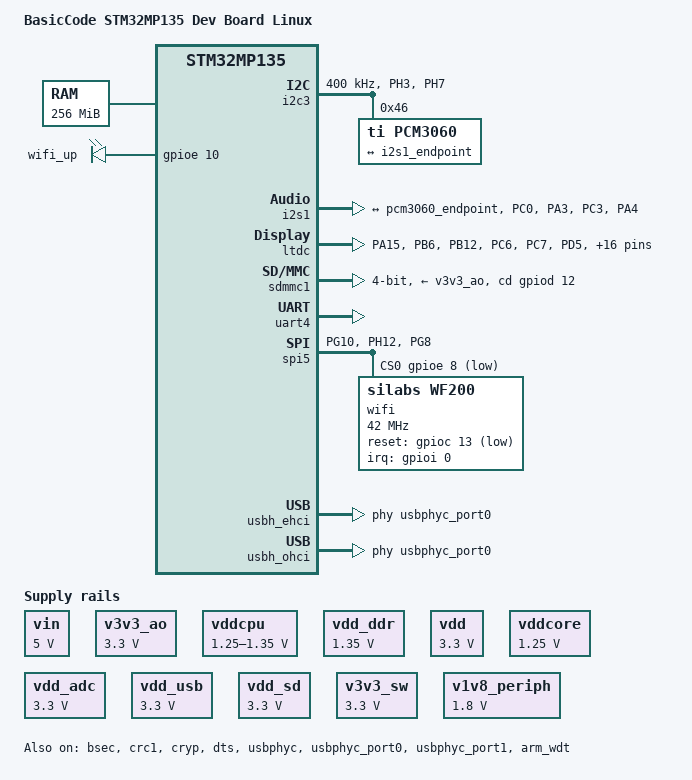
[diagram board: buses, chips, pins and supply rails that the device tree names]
// SPDX-License-Identifier: (GPL-2.0-or-later OR BSD-3-Clause)
/*
 * Copyright (C) 2023, STMicroelectronics - All Rights Reserved
 * Author: STM32CubeMX code generation for STMicroelectronics.
 */

/* For more information on Device Tree configuration, please refer to
 * https://wiki.st.com/stm32mpu/wiki/Category:Device_tree_configuration
 */

/dts-v1/;
#include <dt-bindings/pinctrl/stm32-pinfunc.h>

#include "stm32mp135.dtsi"
#include "stm32mp13xf.dtsi"
#include "stm32mp13-pinctrl.dtsi"

/* USER CODE BEGIN includes */
#include <dt-bindings/gpio/gpio.h>
#include <dt-bindings/input/input.h>
#include <dt-bindings/leds/common.h>
#include <dt-bindings/regulator/st,stm32mp13-regulator.h>
#include <dt-bindings/rtc/rtc-stm32.h>
#include <dt-bindings/interrupt-controller/irq.h>
/* USER CODE END includes */

/ {
	model = "BasicCode STM32MP135 Dev Board Linux";
	compatible = "st,stm32mp135";

	memory@c0000000 {
		device_type = "memory";
		reg = <0xc0000000 0x10000000>;
	};

	reserved-memory {
		#address-cells = <1>;
		#size-cells = <1>;
		ranges;

		optee_framebuffer@cd000000 {
				reg = <0xcd000000 0x1000000>;
				no-map;
		};

		optee@ce000000 {
				reg = <0xce000000 0x2000000>;
				no-map;
		};
	};

	/* USER CODE BEGIN root */

	aliases{
		serial0 = &uart4;
		serial1 = &usart1;
		serial2 = &uart8;
		serial3 = &usart2;
	};

	chosen{
		stdout-path = "serial0:115200n8";
		#address-cells = <1>;
		#size-cells = <1>;
		ranges;

		framebuffer{
			compatible = "simple-framebuffer";
			clocks = <&rcc LTDC_PX>;
			status = "disabled";
		};
	};

    /*
     * Dummy regulators because no PMIC
     */
	vin: vin {
		compatible = "regulator-fixed";
		regulator-name = "vin";
		regulator-min-microvolt = <5000000>;
		regulator-max-microvolt = <5000000>;
		regulator-always-on;
	};

	v3v3_ao: v3v3_ao {
		compatible = "regulator-fixed";
		regulator-name = "v3v3_ao";
		regulator-min-microvolt = <3300000>;
		regulator-max-microvolt = <3300000>;
		regulator-always-on;
	};

    vddcpu: vddcpu {
        compatible = "regulator-fixed";
        regulator-name = "vddcpu";
        regulator-min-microvolt = <1250000>;
        regulator-max-microvolt = <1350000>;
        regulator-always-on;
    };

    vdd_ddr: vdd_ddr {
        compatible = "regulator-fixed";
        regulator-name = "vdd_ddr";
        regulator-min-microvolt = <1350000>;
        regulator-max-microvolt = <1350000>;
        regulator-always-on;
    };

    vdd: vdd {
        compatible = "regulator-fixed";
        regulator-name = "vdd";
        regulator-min-microvolt = <3300000>;
        regulator-max-microvolt = <3300000>;
        regulator-always-on;
    };

    vddcore: vddcore {
        compatible = "regulator-fixed";
        regulator-name = "vddcore";
        regulator-min-microvolt = <1250000>;
        regulator-max-microvolt = <1250000>;
        regulator-always-on;
    };

    vdd_adc: vdd_adc {
        compatible = "regulator-fixed";
        regulator-name = "vdd_adc";
        regulator-min-microvolt = <3300000>;
        regulator-max-microvolt = <3300000>;
        regulator-always-on;
    };

    vdd_usb: vdd_usb {
        compatible = "regulator-fixed";
        regulator-name = "vdd_usb";
        regulator-min-microvolt = <3300000>;
        regulator-max-microvolt = <3300000>;
        regulator-always-on;
    };

    vdd_sd: vdd_sd {
        compatible = "regulator-fixed";
        regulator-name = "vdd_sd";
        regulator-min-microvolt = <3300000>;
        regulator-max-microvolt = <3300000>;
        regulator-always-on;
    };

    v3v3_sw: v3v3_sw {
        compatible = "regulator-fixed";
        regulator-name = "v3v3_sw";
        regulator-min-microvolt = <3300000>;
        regulator-max-microvolt = <3300000>;
        regulator-always-on;
    };

    v1v8_periph: v1v8_periph {
        compatible = "regulator-fixed";
        regulator-name = "v1v8_periph";
        regulator-min-microvolt = <1800000>;
        regulator-max-microvolt = <1800000>;
        regulator-always-on;
    };
	/* USER CODE END root */

	clocks{

		clk_mco1:clk-mco1{
			#clock-cells = <0>;
			compatible = "fixed-clock";
			clock-frequency = <24000000>;
		};
	};

	led{
		compatible = "gpio-leds";

		/*
		 * The Wifi_UP pin must be held HIGH for the chip to turn on,
		 * even when power saving is disableld.
		 */
		wifi_up{
			label = "wifi_up";
			gpios = <&gpioe 10 GPIO_ACTIVE_HIGH>;
			default-state = "on";
		};
	};
/*
	sound {
		compatible = "audio-graph-card";
		label = "STM32MP13-Test";
		routing = "Playback", "DAC";
		dais = <&i2s1_port>;
		status = "okay";
	};
*/

	sound {
		compatible = "simple-audio-card";
		simple-audio-card,name = "Sound Card";
		simple-audio-card,format = "i2s";
		simple-audio-card,mclk-fs = <256>;
		status = "okay";
		simple-audio-card,routing = 
			"Playback", "DAC";
		simple-audio-card,widgets =
			"Headphone", "Headphone Jack";

		simple-audio-card,cpu {
			sound-dai = <&i2s1>;
		};

		simple-audio-card,codec {
			sound-dai = <&pcm3060>;
			clocks = <&i2s1>;
		};
	};

}; /*root*/

&pinctrl {
	ltdc_pins_mx: ltdc_mx-0 {
		pins {
			pinmux = <STM32_PINMUX('A', 15, AF11)>, /* LTDC_G7 */
					 <STM32_PINMUX('B', 6, AF7)>, /* LTDC_B6 */
					 <STM32_PINMUX('B', 12, AF13)>, /* LTDC_R3 */
					 <STM32_PINMUX('C', 6, AF14)>, /* LTDC_HSYNC */
					 <STM32_PINMUX('C', 7, AF14)>, /* LTDC_G6 */
					 <STM32_PINMUX('D', 5, AF14)>, /* LTDC_G4 */
					 <STM32_PINMUX('D', 9, AF13)>, /* LTDC_CLK */
					 <STM32_PINMUX('D', 10, AF14)>, /* LTDC_B2 */
					 <STM32_PINMUX('D', 14, AF14)>, /* LTDC_R4 */
					 <STM32_PINMUX('E', 0, AF14)>, /* LTDC_B5 */
					 <STM32_PINMUX('E', 7, AF14)>, /* LTDC_R5 */
					 <STM32_PINMUX('E', 9, AF14)>, /* LTDC_R7 */
					 <STM32_PINMUX('E', 13, AF14)>, /* LTDC_R6 */
					 <STM32_PINMUX('F', 1, AF13)>, /* LTDC_B7 */
					 <STM32_PINMUX('F', 2, AF14)>, /* LTDC_B3 */
					 <STM32_PINMUX('F', 3, AF14)>, /* LTDC_G3 */
					 <STM32_PINMUX('G', 0, AF14)>, /* LTDC_G5 */
					 <STM32_PINMUX('G', 4, AF11)>, /* LTDC_VSYNC */
					 <STM32_PINMUX('G', 7, AF14)>, /* LTDC_R2 */
					 <STM32_PINMUX('H', 9, AF11)>, /* LTDC_DE */
					 <STM32_PINMUX('H', 13, AF14)>, /* LTDC_G2 */
					 <STM32_PINMUX('H', 14, AF11)>; /* LTDC_B4 */
			bias-disable;
			drive-push-pull;
			slew-rate = <0>;
		};
	};

	ltdc_sleep_pins_mx: ltdc_sleep_mx-0 {
		pins {
			pinmux = <STM32_PINMUX('A', 15, ANALOG)>, /* LTDC_G7 */
					 <STM32_PINMUX('B', 6, ANALOG)>, /* LTDC_B6 */
					 <STM32_PINMUX('B', 12, ANALOG)>, /* LTDC_R3 */
					 <STM32_PINMUX('C', 6, ANALOG)>, /* LTDC_HSYNC */
					 <STM32_PINMUX('C', 7, ANALOG)>, /* LTDC_G6 */
					 <STM32_PINMUX('D', 5, ANALOG)>, /* LTDC_G4 */
					 <STM32_PINMUX('D', 9, ANALOG)>, /* LTDC_CLK */
					 <STM32_PINMUX('D', 10, ANALOG)>, /* LTDC_B2 */
					 <STM32_PINMUX('D', 14, ANALOG)>, /* LTDC_R4 */
					 <STM32_PINMUX('E', 0, ANALOG)>, /* LTDC_B5 */
					 <STM32_PINMUX('E', 7, ANALOG)>, /* LTDC_R5 */
					 <STM32_PINMUX('E', 9, ANALOG)>, /* LTDC_R7 */
					 <STM32_PINMUX('E', 13, ANALOG)>, /* LTDC_R6 */
					 <STM32_PINMUX('F', 1, ANALOG)>, /* LTDC_B7 */
					 <STM32_PINMUX('F', 2, ANALOG)>, /* LTDC_B3 */
					 <STM32_PINMUX('F', 3, ANALOG)>, /* LTDC_G3 */
					 <STM32_PINMUX('G', 0, ANALOG)>, /* LTDC_G5 */
					 <STM32_PINMUX('G', 4, ANALOG)>, /* LTDC_VSYNC */
					 <STM32_PINMUX('G', 7, ANALOG)>, /* LTDC_R2 */
					 <STM32_PINMUX('H', 9, ANALOG)>, /* LTDC_DE */
					 <STM32_PINMUX('H', 13, ANALOG)>, /* LTDC_G2 */
					 <STM32_PINMUX('H', 14, ANALOG)>; /* LTDC_B4 */
		};
	};

	rtc_pins_mx: rtc_mx-0 {
		pins {
			pinmux = <STM32_PINMUX('I', 1, ANALOG)>; /* RTC_LSCO_OUT2 */
		};
	};

	rtc_sleep_pins_mx: rtc_sleep_mx-0 {
		pins {
			pinmux = <STM32_PINMUX('I', 1, ANALOG)>; /* RTC_LSCO_OUT2 */
		};
	};

	i2c3_pins_mx: i2c3-0 {
		pins {
			pinmux = <STM32_PINMUX('H', 3, AF4)>, /* I2C3_SCL */
				 <STM32_PINMUX('H', 7, AF5)>; /* I2C3_SDA */
			bias-disable;
			drive-open-drain;
			slew-rate = <0>;
		};
	};

	i2c3_sleep_pins_mx: i2c3-sleep-0 {
		pins {
			pinmux = <STM32_PINMUX('H', 3, ANALOG)>, /* I2C3_SCL */
				 <STM32_PINMUX('H', 7, ANALOG)>; /* I2C3_SDA */
		};
	};

	spi5_pins_mx: spi5-1 {
		pins1 {
			pinmux = <STM32_PINMUX('G', 10, AF5)>, /* SPI4_SCK */
				<STM32_PINMUX('H', 12, AF5)>; /* SPI4_MOSI */
			bias-disable;
			drive-push-pull;
			slew-rate = <1>;
		};

		pins2 {
			pinmux = <STM32_PINMUX('G', 8, AF5)>; /* SPI4_MISO */
			bias-disable;
		};
	};

	spi5_sleep_pins_mx: spi5-sleep-1 {
		pins {
			pinmux = <STM32_PINMUX('G', 10, ANALOG)>, /* SPI4_SCK */
				<STM32_PINMUX('G', 8, ANALOG)>, /* SPI4_MISO */
				<STM32_PINMUX('H', 12, ANALOG)>; /* SPI4_MOSI */
		};
	};

	/*
	 * Audio
	 */
	i2s1_pins_mx: i2s1-0 {
		pins {
			pinmux = <STM32_PINMUX('C', 0, AF5)>, // I2S1_MCLK
				//<STM32_PINMUX('A', 6, AF5)>, // I2S1_SDI
				<STM32_PINMUX('A', 3, AF5)>, // I2S1_SDO
				<STM32_PINMUX('C', 3, AF6)>, // I2S1_CK
				<STM32_PINMUX('A', 4, AF5)>; //I2S1_WS
			bias-disable;
			drive-push-pull;
			slew-rate = <1>;
		};
	};
	
	i2s1_sleep_pins_mx: i2s1-sleep-0 {
		pins {
			pinmux = <STM32_PINMUX('C', 0, ANALOG)>, // I2S1_MCLK
				//<STM32_PINMUX('A', 6, ANALOG)>, // I2S1_SDI
				<STM32_PINMUX('A', 3, ANALOG)>, // I2S1_SDO
				<STM32_PINMUX('C', 3, ANALOG)>, // I2S1_CK
				<STM32_PINMUX('A', 4, ANALOG)>; //I2S1_WS
		};
	};
};

&bsec{
	status = "okay";

	/* USER CODE BEGIN bsec */
	/* USER CODE END bsec */
};

&crc1{
	status = "okay";

	/* USER CODE BEGIN crc1 */
	/* USER CODE END crc1 */
};

&cryp{
	status = "okay";

	/* USER CODE BEGIN cryp */
	/* USER CODE END cryp */
};

&dma1{
	status = "okay";

	/* USER CODE BEGIN dma1 */
	/* USER CODE END dma1 */
};

&dma2{
	status = "okay";

	/* USER CODE BEGIN dma2 */
	/* USER CODE END dma2 */
};

&dmamux1{
	status = "okay";

	dma-masters = <&dma1 &dma2>;
	dma-channels = <16>;

	/* USER CODE BEGIN dmamux1 */
	/* USER CODE END dmamux1 */
};

&dts{
	status = "okay";

	/* USER CODE BEGIN dts */
	/* USER CODE END dts */
};

&i2c3{
	pinctrl-names = "default", "sleep";
	pinctrl-0 = <&i2c3_pins_mx>;
	pinctrl-1 = <&i2c3_sleep_pins_mx>;
	status = "okay";
	i2c-scl-rising-time-ns = <96>;
	i2c-scl-falling-time-ns = <3>;
	clock-frequency = <400000>;
	/delete-property/ dmas;
	/delete-property/ dma-names;

	/*
	 * Audio
	*/
	pcm3060: pcm3060@46 {
		compatible = "ti,pcm3060";
		reg = <0x46>;
		clocks = <&i2s1>;     // The codec is a consumer of I2S1 master clock
		clock-names = "MCLK"; // Feed MCLK codec clock with I2S1 master clock provider
		ti,out-single-ended = "true";
		#sound-dai-cells = <0>;
		status = "okay";

		ports {
			#address-cells = <1>;
			#size-cells = <0>;

			port@0 {
				reg = <0>;
				pcm3060_endpoint: endpoint {
					remote-endpoint = <&i2s1_endpoint>;
				};
			};
		};
	};
};

&i2s1 {
	clocks = <&rcc SPI1>, <&rcc SPI1_K>, <&scmi_clk CK_SCMI_PLL3_Q>, <&scmi_clk CK_SCMI_PLL3_R>;
	clock-names = "pclk", "i2sclk", "x8k", "x11k";
	pinctrl-names = "default", "sleep";
	pinctrl-0 = <&i2s1_pins_mx>;
	pinctrl-1 = <&i2s1_sleep_pins_mx>;
	#clock-cells = <0>; // Set I2S1 as master clock provider
	#sound-dai-cells = <0>;
	status = "okay";

	i2s1_port: port {
		#address-cells = <1>;
        #size-cells = <0>;
		
		i2s1_endpoint: endpoint {
			remote-endpoint = <&pcm3060_endpoint>;
			system-clock-direction-out;
			frame-master;
			bitclock-master;
			format = "i2s";
			mclk-fs = <256>;
		};
	};
};

&ltdc{
	pinctrl-names = "default", "sleep";
	pinctrl-0 = <&ltdc_pins_mx>;
	pinctrl-1 = <&ltdc_sleep_pins_mx>;
	status = "okay";

	/* USER CODE BEGIN ltdc */

	port{

	};
	/* USER CODE END ltdc */
};

&mdma{
	status = "okay";

	/* USER CODE BEGIN mdma */
	/* USER CODE END mdma */
};

/*
&rcc {
	status = "okay";
};

&rtc{
	pinctrl-names = "default", "sleep";
	pinctrl-0 = <&rtc_pins_mx>;
	pinctrl-1 = <&rtc_sleep_pins_mx>;
	status = "okay";
	st,lsco = <RTC_OUT2_RMP>;
};
*/


&sdmmc1{
	pinctrl-names = "default", "opendrain", "sleep";
	pinctrl-0 = <&sdmmc1_b4_pins_a &sdmmc1_clk_pins_a>;
	pinctrl-1 = <&sdmmc1_b4_od_pins_a &sdmmc1_clk_pins_a>;
	pinctrl-2 = <&sdmmc1_b4_sleep_pins_a>;
	status = "okay";

	cd-gpios = <&gpiod 12 (GPIO_ACTIVE_HIGH | GPIO_PULL_DOWN)>;
	disable-wp;
	st,neg-edge;
	bus-width = <4>;
	vmmc-supply = <&v3v3_ao>;
};

/*
 * Console
 */
&uart4{
	pinctrl-names = "default", "idle", "sleep";
	pinctrl-0 = <&uart4_pins_a>;
	pinctrl-1 = <&uart4_idle_pins_a>;
	pinctrl-2 = <&uart4_sleep_pins_a>;
	status = "okay";

	/* USER CODE BEGIN uart4 */
	/delete-property/ dmas;
	/delete-property/ dma-names;
	/* USER CODE END uart4 */
};

/*
 * WiFi
 */
&spi5 {
	pinctrl-names = "default", "sleep";
	pinctrl-0 = <&spi5_pins_mx>;
	pinctrl-1 = <&spi5_sleep_pins_mx>;
	cs-gpios= <&gpioe 8 GPIO_ACTIVE_LOW>; //PE8 = CS for WiFi
	status = "okay";

	wifi@0 {
		compatible = "silabs,wf200";
		interrupts-extended = <&gpioi 0 IRQ_TYPE_EDGE_RISING>;
		//wakeup-gpios = <&gpioe 10 (GPIO_ACTIVE_LOW)>;
		reset-gpios = <&gpioc 13 GPIO_ACTIVE_LOW>;
		reg = <0>; //CS index 0 (see above)
		spi-max-frequency = <42000000>;
	};
};

/*
 * USB Configuration
 */
&usbh_ehci {
	status = "okay";
	phys = <&usbphyc_port0>, <&usbphyc_port1 1>;
	phy-names = "usb", "usb";
};

&usbh_ohci {
	phys = <&usbphyc_port0>, <&usbphyc_port1 1>;
	phy-names = "usb", "usb";
	status = "okay";
};

&usbphyc {
	status = "okay";
};

&usbphyc_port0 {
	status="okay";
	phy-supply = <&vdd_usb>;
};

&usbphyc_port1 {
	status="okay";
	phy-supply = <&vdd_usb>;
};

/* USER CODE BEGIN addons */

&arm_wdt{
	timeout-sec = <32>;
	status = "okay";
};

